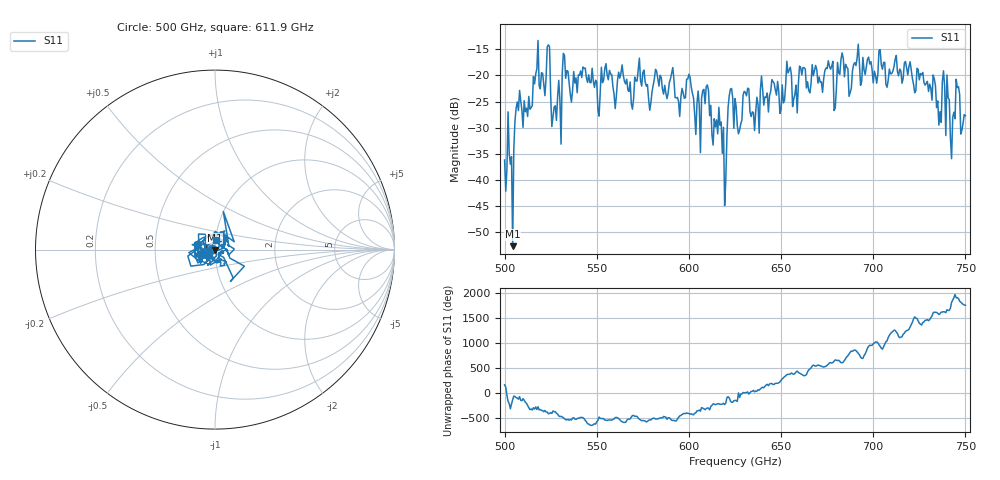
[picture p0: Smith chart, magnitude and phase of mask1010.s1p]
!Created with skrf (http://scikit-rf.org).
# GHz S MA R 50.0
!freq magS11 angS11
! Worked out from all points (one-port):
!   401 points, 500 GHz to 750 GHz, reference 50 ohm
!   lowest |S11| = -52.8 dB at 504.4 GHz (marker M1), VSWR 1.00, Z = 49.8 - j0.143 ohm
!   |S11| at or under -10 dB: start of sweep to end of sweep
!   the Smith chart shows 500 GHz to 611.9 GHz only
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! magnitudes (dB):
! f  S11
! 500 GHz  -36.2
! 504.4 GHz  -52.8
! 506.9 GHz  -25.1
! 513.8 GHz  -26.5
! 516.9 GHz  -19.7
! 523.8 GHz  -14.1
! 526.9 GHz  -26.0
! 531.2 GHz  -19.7
! 562.5 GHz  -20.5
! 568.8 GHz  -25.5
! 590.6 GHz  -19.5
! 593.8 GHz  -24.2
! 600 GHz  -19.8
! 605 GHz  -23.0
! 609.4 GHz  -22.1
! 619.4 GHz  -45.0
! 622.5 GHz  -22.6
! 625 GHz  -24.4
! 656.2 GHz  -26.0
! 683.8 GHz  -16.7
! 687.5 GHz  -23.3
! 690.6 GHz  -18.1
! 718.8 GHz  -19.9
! 735.6 GHz  -29.5
! 738.8 GHz  -22.1
! 743.1 GHz  -28.0
! 745.6 GHz  -22.3
! 750 GHz  -27.7
